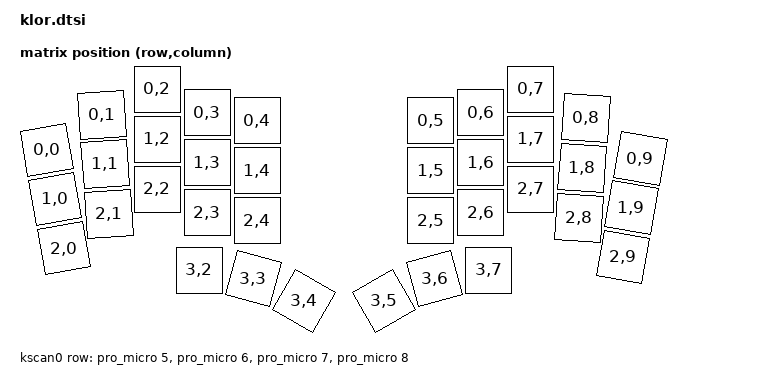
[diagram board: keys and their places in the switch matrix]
/*
 * Copyright (c) 2022 The ZMK Contributors
 *
 * SPDX-License-Identifier: MIT
 */

#include "klor_common.dtsi"
#include <physical_layouts.dtsi>

/ {
	chosen {
		zmk,physical-layout = &klor_layout;
	};

	default_transform: keymap_transform_0 {
		compatible = "zmk,matrix-transform";
		columns = <10>;
		rows = <4>;
		map = <
        RC(0,0) RC(0,1) RC(0,2) RC(0,3) RC(0,4)		 RC(0,5) RC(0,6) RC(0,7) RC(0,8) RC(0,9)
		RC(1,0) RC(1,1) RC(1,2) RC(1,3) RC(1,4)		 RC(1,5) RC(1,6) RC(1,7) RC(1,8) RC(1,9)
		RC(2,0) RC(2,1) RC(2,2) RC(2,3) RC(2,4) 	 RC(2,5) RC(2,6) RC(2,7) RC(2,8) RC(2,9)
                        RC(3,2) RC(3,3) RC(3,4) 	 RC(3,5) RC(3,6) RC(3,7)
		>;
	};

	klor_layout: klor_layout {
		compatible = "zmk,physical-layout";
		display-name = "KLOR";
		transform = <&default_transform>;
		kscan = <&kscan0>;
keys  //                     w   h    x    y     rot    rx    ry
            = <&key_physical_attrs 100 100    0  131 (-1000)     0   131>
            , <&key_physical_attrs 100 100  115   55  (-400)   115    55>
            , <&key_physical_attrs 100 100  229    0       0     0     0>
            , <&key_physical_attrs 100 100  329   47       0     0     0>
            , <&key_physical_attrs 100 100  429   63       0     0     0>
            , <&key_physical_attrs 100 100  776   63       0     0     0>
            , <&key_physical_attrs 100 100  876   47       0     0     0>
            , <&key_physical_attrs 100 100  976    0       0     0     0>
            , <&key_physical_attrs 100 100 1090   55     400  1090    55>
            , <&key_physical_attrs 100 100 1205  131    1000  1205   131>
    
            , <&key_physical_attrs 100 100   17  229 (-1000)    17   229>
            , <&key_physical_attrs 100 100  122  154  (-400)   122   154>
            , <&key_physical_attrs 100 100  229  100       0     0     0>
            , <&key_physical_attrs 100 100  329  147       0     0     0>
            , <&key_physical_attrs 100 100  429  163       0     0     0>
            , <&key_physical_attrs 100 100  776  163       0     0     0>
            , <&key_physical_attrs 100 100  876  147       0     0     0>
            , <&key_physical_attrs 100 100  976  100       0     0     0>
            , <&key_physical_attrs 100 100 1083  154     400  1083   154>
            , <&key_physical_attrs 100 100 1187  229    1000  1187   229>
    
            , <&key_physical_attrs 100 100   35  328 (-1000)    35   328>
            , <&key_physical_attrs 100 100  129  254  (-400)   129   254>
            , <&key_physical_attrs 100 100  229  200       0     0     0>
            , <&key_physical_attrs 100 100  329  247       0     0     0>
            , <&key_physical_attrs 100 100  429  263       0     0     0>
            , <&key_physical_attrs 100 100  776  263       0     0     0>
            , <&key_physical_attrs 100 100  876  247       0     0     0>
            , <&key_physical_attrs 100 100  976  200       0     0     0>
            , <&key_physical_attrs 100 100 1076  254     400  1076   254>
            , <&key_physical_attrs 100 100 1170  328    1000  1170   328>
    
            , <&key_physical_attrs 100 100  313  362       0     0     0>
            , <&key_physical_attrs 100 100  436  368    1500   436   368>
            , <&key_physical_attrs 100 100  554  405    3000   554   405>
            , <&key_physical_attrs 100 100  651  405 (-3000)   751   405>
            , <&key_physical_attrs 100 100  769  368 (-1500)   869   368>
            , <&key_physical_attrs 100 100  892  362       0     0     0>
            ;
	};
};

&kscan0 {
	row-gpios
		= <&pro_micro 5 (GPIO_ACTIVE_HIGH | GPIO_PULL_DOWN)>
		, <&pro_micro 6 (GPIO_ACTIVE_HIGH | GPIO_PULL_DOWN)>
		, <&pro_micro 7 (GPIO_ACTIVE_HIGH | GPIO_PULL_DOWN)>
		, <&pro_micro 8 (GPIO_ACTIVE_HIGH | GPIO_PULL_DOWN)>
		;
};
